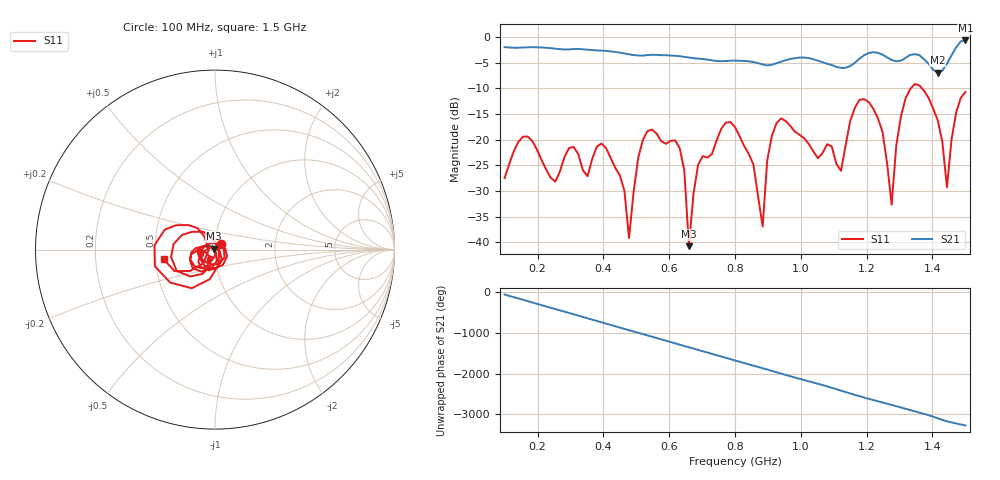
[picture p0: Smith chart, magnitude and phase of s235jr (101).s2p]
! NanoVNA-App
! Date: 2025-09-25 15:04:57
! Start: 100MHz Stop: 1,5GHz Points: 101
! S-Parameter data: F S11 S21 S12 S22
# Hz S RI R 50
!  Frequency  S11_Real  S11_Imag  S21_Real  S21_Imag  S12_Real  S12_Imag  S22_Real  S22_Imag
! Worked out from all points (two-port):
!   101 points, 100 MHz to 1.5 GHz, reference 50 ohm
!   highest |S21| = -0.67 dB at 1.5 GHz (marker M1); lowest = -6.9 dB at 1.416 GHz (marker M2)
!   |S21| within 3 dB of the highest: start of sweep to 619.4 MHz; 1.19 GHz to 1.254 GHz (64.53 MHz wide, 5.28 % of centre) (the widest 2 of 4)
!   lowest |S11| = -40.8 dB at 660 MHz (marker M3), VSWR 1.02, Z = 49.3 + j0.575 ohm
!   |S11| at or under -10 dB: start of sweep to 1.334 GHz; 1.368 GHz to end of sweep
!   S12 and S22 are empty: the file has one direction only
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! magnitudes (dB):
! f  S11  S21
! 100 MHz  -27.5  -2.0
! 156 MHz  -19.4  -2.0
! 338 MHz  -26.0  -2.4
! 408 MHz  -21.6  -2.7
! 478 MHz  -39.2  -3.4
! 520 MHz  -20.1  -3.6
! 576 MHz  -20.3  -3.5
! 632 MHz  -21.7  -3.7
! 660 MHz  -40.8  -4.0
! 688 MHz  -24.9  -4.2
! 800 MHz  -17.6  -4.6
! 884 MHz  -36.9  -5.3
! 926 MHz  -16.8  -5.1
! 1.038 GHz  -22.3  -4.3
! 1.122 GHz  -26.1  -6.0
! 1.206 GHz  -12.6  -3.1
! 1.248 GHz  -18.4  -3.4
! 1.276 GHz  -32.7  -4.5
! 1.332 GHz  -10.2  -3.5
! 1.416 GHz  -16.2  -6.9
! 1.444 GHz  -29.3  -5.2
! 1.5 GHz  -10.7  -0.7
